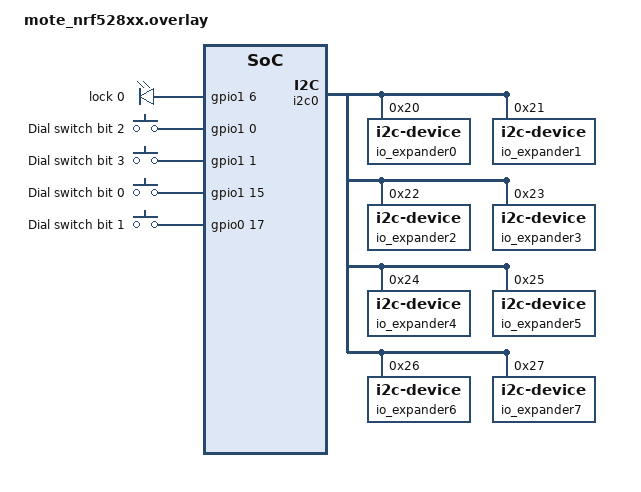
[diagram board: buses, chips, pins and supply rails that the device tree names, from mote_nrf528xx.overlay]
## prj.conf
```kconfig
CONFIG_PRINTK=y
CONFIG_SHELL=y
CONFIG_LOG=y
CONFIG_INIT_STACKS=y
CONFIG_THREAD_STACK_INFO=y
CONFIG_KERNEL_SHELL=y
CONFIG_THREAD_MONITOR=y
CONFIG_BOOT_BANNER=n
CONFIG_THREAD_NAME=y
CONFIG_DEVICE_SHELL=y
CONFIG_POSIX_CLOCK=y
CONFIG_DATE_SHELL=y
CONFIG_THREAD_RUNTIME_STATS=y
CONFIG_THREAD_RUNTIME_STATS_USE_TIMING_FUNCTIONS=y
CONFIG_STATS=y
CONFIG_STATS_SHELL=y

CONFIG_MULTITHREADING=y
CONFIG_FLASH=y
CONFIG_NORDIC_QSPI_NOR=y
CONFIG_I2C=y
```

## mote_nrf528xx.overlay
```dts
// To get started, press Ctrl+Space to bring up the completion menu and view the available nodes.

// You can also use the buttons in the sidebar to perform actions on nodes.
// Actions currently available include:

// * Enabling / disabling the node
// * Adding the bus to a bus
// * Removing the node
// * Connecting ADC channels

// For more help, browse the DeviceTree documentation at https://docs.zephyrproject.org/latest/guides/dts/index.html
// You can also visit the nRF DeviceTree extension documentation at https://nrfconnect.github.io/vscode-nrf-connect/devicetree/nrfdevicetree.html

/ {
	chosen {
		nordic,pm-ext-flash = &w25q128;
	};

	/*
	* In some default configurations within the nRF Connect SDK,
	* e.g. on nRF52840, the chosen zephyr,entropy node is &cryptocell.
	* This devicetree overlay ensures that default is overridden wherever it
	* is set, as this application uses the RNG node for entropy exclusively.
	*/

	chosen {
		zephyr,entropy = &rng;
	};

    locks {
		compatible = "gpio-leds";
		lock0: lock_0 {
			gpios = <&gpio1 6 (GPIO_PULL_DOWN |GPIO_ACTIVE_HIGH)>;
			label = "lock 0";
		};

	};

    aliases {
		lock0 = &lock0;
	};

    buttons{
        compatible = "gpio-keys";
        button1: button_1 {
            gpios = <&gpio1 0 (GPIO_PULL_UP | GPIO_ACTIVE_HIGH)>;
            label = "Dial switch bit 2";
        };

        button2: button_2 {
            gpios = <&gpio1 1 (GPIO_PULL_UP | GPIO_ACTIVE_HIGH)>;
            label = "Dial switch bit 3";
        };

        button3: button_3 {
            gpios = <&gpio1 15 (GPIO_PULL_UP | GPIO_ACTIVE_HIGH)>;
            label = "Dial switch bit 0";
        };
        button4: button_4 {
            gpios = <&gpio0 17 (GPIO_PULL_UP | GPIO_ACTIVE_HIGH)>;
            label = "Dial switch bit 1";
        };


    };

};



&i2c0 {
    io_expander_0: io_expander@20{
        compatible = "i2c-device";
        reg = < 0x20 >;
        label = "io_expander0";
    };

    io_expander_1: io_expander@21{
        compatible = "i2c-device";
        reg = < 0x21 >;
        label = "io_expander1";
    };

    io_expander_2: io_expander@22{
        compatible = "i2c-device";
        reg = < 0x22 >;
        label = "io_expander2";
    };

    io_expander_3: io_expander@23{
        compatible = "i2c-device";
        reg = < 0x23 >;
        label = "io_expander3";
    };

    io_expander_4: io_expander@24{
        compatible = "i2c-device";
        reg = < 0x24 >;
        label = "io_expander4";
    };

    io_expander_5: io_expander@25{
        compatible = "i2c-device";
        reg = < 0x25 >;
        label = "io_expander5";
    };

    io_expander_6: io_expander@26{
        compatible = "i2c-device";
        reg = < 0x26 >;
        label = "io_expander6";
    };

    io_expander_7: io_expander@27{
        compatible = "i2c-device";
        reg = < 0x27 >;
        label = "io_expander7";
    };

};


&flash0 {
	status = "okay";
};
```

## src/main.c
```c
/*
 * Copyright (c) 2015 Intel Corporation
 *
 * SPDX-License-Identifier: Apache-2.0
 */

#include <zephyr/kernel.h>
#include <zephyr/shell/shell.h>
#include <version.h>
#include <zephyr/logging/log.h>
#include <stdlib.h>
#include <zephyr/drivers/uart.h>
#include <zephyr/usb/usb_device.h>
#include <ctype.h>

#ifdef CONFIG_ARCH_POSIX
#include <unistd.h>
#else
#include <zephyr/posix/unistd.h>
#endif

LOG_MODULE_REGISTER(app);


extern int test_module_init();

extern void foo(void);

void timer_expired_handler(struct k_timer *timer)
{
	LOG_INF("Timer expired.");

	/* Call another module to present logging from multiple sources. */
	foo();
}

K_TIMER_DEFINE(log_timer, timer_expired_handler, NULL);

static int cmd_log_test_start(const struct shell *sh, size_t argc,
			      char **argv, uint32_t period)
{
	ARG_UNUSED(argv);

	k_timer_start(&log_timer, K_MSEC(period), K_MSEC(period));
	shell_print(sh, "Log test started\n");

	return 0;
}

static int cmd_log_test_start_demo(const struct shell *sh, size_t argc,
				   char **argv)
{
	return cmd_log_test_start(sh, argc, argv, 200);
}

static int cmd_log_test_start_flood(const struct shell *sh, size_t argc,
				    char **argv)
{
	return cmd_log_test_start(sh, argc, argv, 10);
}

static int cmd_log_test_stop(const struct shell *sh, size_t argc,
			     char **argv)
{
	ARG_UNUSED(argc);
	ARG_UNUSED(argv);

	k_timer_stop(&log_timer);
	shell_print(sh, "Log test stopped");

	return 0;
}

SHELL_STATIC_SUBCMD_SET_CREATE(sub_log_test_start,
	SHELL_CMD_ARG(demo, NULL,
		  "Start log timer which generates log message every 200ms.",
		  cmd_log_test_start_demo, 1, 0),
	SHELL_CMD_ARG(flood, NULL,
		  "Start log timer which generates log message every 10ms.",
		  cmd_log_test_start_flood, 1, 0),
	SHELL_SUBCMD_SET_END /* Array terminated. */
);
SHELL_STATIC_SUBCMD_SET_CREATE(sub_log_test,
	SHELL_CMD_ARG(start, &sub_log_test_start, "Start log test", NULL, 2, 0),
	SHELL_CMD_ARG(stop, NULL, "Stop log test.", cmd_log_test_stop, 1, 0),
	SHELL_SUBCMD_SET_END /* Array terminated. */
);

SHELL_CMD_REGISTER(log_test, &sub_log_test, "Log test", NULL);

static int cmd_demo_ping(const struct shell *sh, size_t argc, char **argv)
{
	ARG_UNUSED(argc);
	ARG_UNUSED(argv);

	shell_print(sh, "pong");

	return 0;
}

static int cmd_demo_board(const struct shell *sh, size_t argc, char **argv)
{
	ARG_UNUSED(argc);
	ARG_UNUSED(argv);

	shell_print(sh, CONFIG_BOARD);

	return 0;
}

#if defined CONFIG_SHELL_GETOPT
/* Thread save usage */
static int cmd_demo_getopt_ts(const struct shell *sh, size_t argc,
			      char **argv)
{
	struct getopt_state *state;
	char *cvalue = NULL;
	int aflag = 0;
	int bflag = 0;
	int c;

	while ((c = getopt(argc, argv, "abhc:")) != -1) {
		state = getopt_state_get();
		switch (c) {
		case 'a':
			aflag = 1;
			break;
		case 'b':
			bflag = 1;
			break;
		case 'c':
			cvalue = state->optarg;
			break;
		case 'h':
			/* When getopt is active shell is not parsing
			 * command handler to print help message. It must
			 * be done explicitly.
			 */
			shell_help(sh);
			return SHELL_CMD_HELP_PRINTED;
		case '?':
			if (state->optopt == 'c') {
				shell_print(sh,
					"Option -%c requires an argument.",
					state->optopt);
			} else if (isprint(state->optopt) != 0) {
				shell_print(sh,
					"Unknown option `-%c'.",
					state->optopt);
			} else {
				shell_print(sh,
					"Unknown option character `\\x%x'.",
					state->optopt);
			}
			return 1;
		default:
			break;
		}
	}

	shell_print(sh, "aflag = %d, bflag = %d", aflag, bflag);
	return 0;
}

static int cmd_demo_getopt(const struct shell *sh, size_t argc,
			      char **argv)
{
	char *cvalue = NULL;
	int aflag = 0;
	int bflag = 0;
	int c;

	while ((c = getopt(argc, argv, "abhc:")) != -1) {
		switch (c) {
		case 'a':
			aflag = 1;
			break;
		case 'b':
			bflag = 1;
			break;
		case 'c':
			cvalue = optarg;
			break;
		case 'h':
			/* When getopt is active shell is not parsing
			 * command handler to print help message. It must
			 * be done explicitly.
			 */
			shell_help(sh);
			return SHELL_CMD_HELP_PRINTED;
		case '?':
			if (optopt == 'c') {
				shell_print(sh,
					"Option -%c requires an argument.",
					optopt);
			} else if (isprint(optopt) != 0) {
				shell_print(sh, "Unknown option `-%c'.",
					optopt);
			} else {
				shell_print(sh,
					"Unknown option character `\\x%x'.",
					optopt);
			}
			return 1;
		default:
			break;
		}
	}

	shell_print(sh, "aflag = %d, bflag = %d", aflag, bflag);
	return 0;
}
#endif

static int cmd_demo_params(const struct shell *sh, size_t argc, char **argv)
{
	shell_print(sh, "argc = %zd", argc);
	for (size_t cnt = 0; cnt < argc; cnt++) {
		shell_print(sh, "  argv[%zd] = %s", cnt, argv[cnt]);
	}

	return 0;
}

static int cmd_demo_hexdump(const struct shell *sh, size_t argc, char **argv)
{
	shell_print(sh, "argc = %zd", argc);
	for (size_t cnt = 0; cnt < argc; cnt++) {
		shell_print(sh, "argv[%zd]", cnt);
		shell_hexdump(sh, argv[cnt], strlen(argv[cnt]));
	}

	return 0;
}

static int cmd_version(const struct shell *sh, size_t argc, char **argv)
{
	ARG_UNUSED(argc);
	ARG_UNUSED(argv);

	shell_print(sh, "Zephyr version %s", KERNEL_VERSION_STRING);

	return 0;
}

#define DEFAULT_PASSWORD "zephyr"

static void login_init(void)
{
	printk("Shell Login Demo\nHint: password = %s\n", DEFAULT_PASSWORD);
	if (!CONFIG_SHELL_CMD_ROOT[0]) {
		shell_set_root_cmd("login");
	}
}

static int check_passwd(char *passwd)
{
	/* example only -- not recommended for production use */
	return strcmp(passwd, DEFAULT_PASSWORD);
}

static int cmd_login(const struct shell *sh, size_t argc, char **argv)
{
	static uint32_t attempts;

	if (check_passwd(argv[1]) != 0) {
		shell_error(sh, "Incorrect password!");
		attempts++;
		if (attempts > 3) {
			k_sleep(K_SECONDS(attempts));
		}
		return -EINVAL;
	}

	/* clear history so password not visible there */
	z_shell_history_purge(sh->history);
	shell_obscure_set(sh, false);
	shell_set_root_cmd(NULL);
	shell_prompt_change(sh, "uart:~$ ");
	shell_print(sh, "Shell Login Demo\n");
	shell_print(sh, "Hit tab for help.\n");
	attempts = 0;
	return 0;
}

static int cmd_logout(const struct shell *sh, size_t argc, char **argv)
{
	shell_set_root_cmd("login");
	shell_obscure_set(sh, true);
	shell_prompt_change(sh, "login: ");
	shell_print(sh, "\n");
	return 0;
}

static int set_bypass(const struct shell *sh, shell_bypass_cb_t bypass)
{
	static bool in_use;

	if (bypass && in_use) {
		shell_error(sh, "Sample supports setting bypass on single instance.");

		return -EBUSY;
	}

	in_use = !in_use;
	if (in_use) {
		shell_print(sh, "Bypass started, press ctrl-x ctrl-q to escape");
		in_use = true;
	}

	shell_set_bypass(sh, bypass);

	return 0;
}

#define CHAR_1 0x18
#define CHAR_2 0x11

static void bypass_cb(const struct shell *sh, uint8_t *data, size_t len)
{
	static uint8_t tail;
	bool escape = false;

	/* Check if escape criteria is met. */
	if (tail == CHAR_1 && data[0] == CHAR_2) {
		escape = true;
	} else {
		for (int i = 0; i < (len - 1); i++) {
			if (data[i] == CHAR_1 && data[i + 1] == CHAR_2) {
				escape = true;
				break;
			}
		}
	}

	if (escape) {
		shell_print(sh, "Exit bypass");
		set_bypass(sh, NULL);
		tail = 0;
		return;
	}

	/* Store last byte for escape sequence detection */
	tail = data[len - 1];

	/* Do the data processing. */
	for (int i = 0; i < len; i++) {
		shell_fprintf(sh, SHELL_INFO, "%02x ", data[i]);
	}
	shell_fprintf(sh, SHELL_INFO, "| ");

	for (int i = 0; i < len; i++) {
		shell_fprintf(sh, SHELL_INFO, "%c", data[i]);
	}
	shell_fprintf(sh, SHELL_INFO, "\n");

}

static int cmd_bypass(const struct shell *sh, size_t argc, char **argv)
{
	return set_bypass(sh, bypass_cb);
}

static int cmd_dict(const struct shell *sh, size_t argc, char **argv,
		    void *data)
{
	int val = (intptr_t)data;

	shell_print(sh, "(syntax, value) : (%s, %d)", argv[0], val);

	return 0;
}

SHELL_SUBCMD_DICT_SET_CREATE(sub_dict_cmds, cmd_dict,
	(value_0, 0, "value 0"), (value_1, 1, "value 1"),
	(value_2, 2, "value 2"), (value_3, 3, "value 3")
);

SHELL_STATIC_SUBCMD_SET_CREATE(sub_demo,
	SHELL_CMD(dictionary, &sub_dict_cmds, "Dictionary commands", NULL),
	SHELL_CMD(hexdump, NULL, "Hexdump params command.", cmd_demo_hexdump),
	SHELL_CMD(params, NULL, "Print params command.", cmd_demo_params),
	SHELL_CMD(ping, NULL, "Ping command.", cmd_demo_ping),
	SHELL_CMD(board, NULL, "Show board name command.", cmd_demo_board),
#if defined CONFIG_SHELL_GETOPT
	SHELL_CMD(getopt_thread_safe, NULL,
		  "Cammand using getopt in thread safe way"
		  " looking for: \"abhc:\".",
		  cmd_demo_getopt_ts),
	SHELL_CMD(getopt, NULL, "Cammand using getopt in non thread safe way"
		  " looking for: \"abhc:\".\n", cmd_demo_getopt),
#endif
	SHELL_SUBCMD_SET_END /* Array terminated. */
);
SHELL_CMD_REGISTER(demo, &sub_demo, "Demo commands", NULL);

SHELL_CMD_ARG_REGISTER(version, NULL, "Show kernel version", cmd_version, 1, 0);

SHELL_CMD_ARG_REGISTER(bypass, NULL, "Bypass shell", cmd_bypass, 1, 0);

SHELL_COND_CMD_ARG_REGISTER(CONFIG_SHELL_START_OBSCURED, login, NULL,
			    "<password>", cmd_login, 2, 0);

SHELL_COND_CMD_REGISTER(CONFIG_SHELL_START_OBSCURED, logout, NULL,
			"Log out.", cmd_logout);


/* Create a set of commands. Commands to this set are added using @ref SHELL_SUBCMD_ADD
 * and @ref SHELL_SUBCMD_COND_ADD.
 */
SHELL_SUBCMD_SET_CREATE(sub_section_cmd, (section_cmd));

static int cmd1_handler(const struct shell *sh, size_t argc, char **argv)
{
	ARG_UNUSED(sh);
	ARG_UNUSED(argc);
	ARG_UNUSED(argv);

	shell_print(sh, "cmd1 executed");

	return 0;
}

/* Create a set of subcommands for "section_cmd cm1". */
SHELL_SUBCMD_SET_CREATE(sub_section_cmd1, (section_cmd, cmd1));

/* Add command to the set. Subcommand set is identify by parent shell command. */
SHELL_SUBCMD_ADD((section_cmd), cmd1, &sub_section_cmd1, "help for cmd1", cmd1_handler, 1, 0);

SHELL_CMD_REGISTER(section_cmd, &sub_section_cmd,
		   "Demo command using section for subcommand registration", NULL);

int main(void)
{
	// test_module_init();
	
	if (IS_ENABLED(CONFIG_SHELL_START_OBSCURED)) {
		login_init();
	}

#if DT_NODE_HAS_COMPAT(DT_CHOSEN(zephyr_shell_uart), zephyr_cdc_acm_uart)
	const struct device *dev;
	uint32_t dtr = 0;

	dev = DEVICE_DT_GET(DT_CHOSEN(zephyr_shell_uart));
	if (!device_is_ready(dev) || usb_enable(NULL)) {
		return 0;
	}

	while (!dtr) {
		uart_line_ctrl_get(dev, UART_LINE_CTRL_DTR, &dtr);
		k_sleep(K_MSEC(100));
	}
#endif
	return 0;
}
```

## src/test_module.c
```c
/*
 * Copyright (c) 2018 Nordic Semiconductor ASA
 *
 * SPDX-License-Identifier: Apache-2.0
 */
#include <stdio.h>
#include <stdlib.h>
#include <ctype.h>

#ifdef CONFIG_ARCH_POSIX
#include <unistd.h>
#else
#include <zephyr/posix/unistd.h>
#endif

#include <zephyr/logging/log.h>
#include <zephyr/shell/shell.h>

#include <zephyr/drivers/gpio.h>
#include <zephyr/drivers/i2c.h>
#include <hal/nrf_gpio.h>

#include <zephyr/pm/device.h>
#include <zephyr/pm/device_runtime.h>

#include <zephyr/drivers/flash.h>

LOG_MODULE_REGISTER(app_test);

#define SLEEP_TIME_MS 500


const struct gpio_dt_spec mIOConfig[3] = {
    [0] = GPIO_DT_SPEC_GET(DT_ALIAS(sw0), gpios),
    [1] = GPIO_DT_SPEC_GET(DT_ALIAS(sw1), gpios),
    [2] = GPIO_DT_SPEC_GET(DT_ALIAS(sw2), gpios)
};

void io_config_init(void) 
{
	int err;

    int mode = 0;

    for(int i = 0; i < 3; i++){
        if (!device_is_ready(mIOConfig[i].port)) {
            return;
        }

        err = gpio_pin_configure_dt(&mIOConfig[i], GPIO_INPUT);
        if (err < 0) {
            return;
        }        
    }	

    k_sleep(K_MSEC(100));

    mode |= gpio_pin_get_dt(&mIOConfig[1]) > 0 ? 0x1 : 0; 
     
    mode |= gpio_pin_get_dt(&mIOConfig[2]) > 0 ? 0x2 : 0; 

    printk("io-config mode: %u\n", mode);

}

static int io_config_handler(const struct shell *sh, size_t argc, char **argv)
{
	ARG_UNUSED(sh);
	ARG_UNUSED(argc);
	ARG_UNUSED(argv);

	shell_print(sh, "io_config_init test:");

    io_config_init();

	return 0;
}

SHELL_SUBCMD_ADD((section_cmd), ioconfig, NULL, "help for ioconfig", io_config_handler, 1, 0);



static const struct gpio_dt_spec lock0 = GPIO_DT_SPEC_GET(DT_ALIAS(lock0), gpios);


void lock_init(void) {
  if (!device_is_ready(lock0.port)) {
    printk("Didn't find lock device referred by the lock0\n");
    return;
  }

  gpio_pin_configure_dt(&lock0, GPIO_OUTPUT);
  gpio_pin_set_dt(&lock0, 1);
}





#define BTN_COUNT 1

struct otc_btn_work_info {
	struct k_work_delayable work;
	uint32_t pins;
} otc_btn_work;

static const struct gpio_dt_spec button0 = GPIO_DT_SPEC_GET_OR(DT_ALIAS(sw0), gpios, {0});
static struct gpio_callback button_cb_data;
static const struct gpio_dt_spec btns[BTN_COUNT] = {button0};


static void otc_btn_work_fn(struct k_work *work)
{
	int err;
	struct k_work_delayable *dwork = k_work_delayable_from_work(work);
	struct otc_btn_work_info *btn_work = CONTAINER_OF(dwork, struct otc_btn_work_info, work);

	if (btn_work->pins == BIT(button0.pin)) {

		printk("button0 pressed, triggle lock\n");
		// gpio_pin_toggle_dt(&lock0);
		if (gpio_pin_set_dt(&lock0, 1) != 0) {
			printk("lock0 set error\n");
		}

		k_msleep(SLEEP_TIME_MS);

		if (gpio_pin_set_dt(&lock0, 0) != 0) {
			printk("lock0 set error\n");
		}

	} 
}


static void button_pressed(const struct device *dev, struct gpio_callback *cb, uint32_t pins)
{
	otc_btn_work.pins = pins;
	k_work_schedule(&otc_btn_work.work, K_MSEC(100));
}

static void configure_button_irq(const struct gpio_dt_spec btn)
{
	int ret;

	if (!device_is_ready(btn.port)) {
		printk("Error: button device %s is not ready\n", btn.port->name);
		return;
	}

	ret = gpio_pin_configure_dt(&btn, GPIO_INPUT);
	if (ret != 0) {
		printk("Error %d: failed to configure %s pin %d\n", ret, btn.port->name, btn.pin);
		return;
	}

	ret = gpio_pin_interrupt_configure_dt(&btn, GPIO_INT_EDGE_TO_ACTIVE);

	if (ret != 0) {
		printk("Error %d: failed to configure interrupt on %s pin %d\n", ret,
		       btn.port->name, btn.pin);
		return;
	}

	button_cb_data.pin_mask |= BIT(btn.pin);
	gpio_add_callback(btn.port, &button_cb_data);

	printk("Set up button at %s pin %d\n", btn.port->name, btn.pin);
}

static void configure_buttons(void)
{
	gpio_init_callback(&button_cb_data, button_pressed, 0);

	for (int idx = 0; idx < BTN_COUNT; idx++) {
		configure_button_irq(btns[idx]);
	}
}

void buttons_init(void)
{
	k_work_init_delayable(&otc_btn_work.work, otc_btn_work_fn);

	configure_buttons();

}


const struct device *qspi_flash = DEVICE_DT_GET(DT_NODELABEL(w25q128));
const struct flash_driver_api *qspi_nor_api;
char write_buf[1024] = {0};
char read_buf[1024] = {0};

int qspi_init()
{
	int ret = 0;
	int err = 0;
	printk("qspi_init start\n");

	if (!device_is_ready(qspi_flash)) {
		printk("QSPI FLASH not ready\n");
		return -ENODEV;
	}

	memset(write_buf, 0x55, 1024);
	memset(read_buf, 0, 1024);

	qspi_nor_api = qspi_flash->api;

	ret = qspi_nor_api->erase(qspi_flash, 0, 4*1024);

	ret = qspi_nor_api->write(qspi_flash, 0, write_buf,1024);

	ret = qspi_nor_api->read(qspi_flash, 0, read_buf, 1024);

	for(int i = 0; i < 1024; i++){
		if(write_buf[i] != read_buf[i]){
			err = 1;
			break;
		}
	}

	if(err){
		printk("QSPI FLAH check failed\n");
	}
	else{
		printk("QSPI FLAH check passed\n");
	}


	return ret;

}




static const struct device *GIPO_P0 = DEVICE_DT_GET(DT_NODELABEL(gpio0));
static const struct device *GIPO_P1 = DEVICE_DT_GET(DT_NODELABEL(gpio1));


static const struct i2c_dt_spec dev_io_expander[8] = {
	[0] = I2C_DT_SPEC_GET(DT_NODELABEL(io_expander_0)),
	[1] = I2C_DT_SPEC_GET(DT_NODELABEL(io_expander_1)),
	[2] = I2C_DT_SPEC_GET(DT_NODELABEL(io_expander_2)),
	[3] = I2C_DT_SPEC_GET(DT_NODELABEL(io_expander_3)),
	[4] = I2C_DT_SPEC_GET(DT_NODELABEL(io_expander_4)),
	[5] = I2C_DT_SPEC_GET(DT_NODELABEL(io_expander_5)),
	[6] = I2C_DT_SPEC_GET(DT_NODELABEL(io_expander_6)),
	[7] = I2C_DT_SPEC_GET(DT_NODELABEL(io_expander_7)),
};


int port0_pins[32] = {9, 10, 31, 29, 2, 20, 17, 15, 12, 8, 6, 22, 24, -1};
int port1_pins[32] = {4, 6, 2, 9, 0, 1, -1};

static int gpio_init(void)
{
	int err;

	printk("gpio_init start\n");

	if (!device_is_ready(GIPO_P0)) {
		printk("GPIO controller not ready\n");
		return -ENODEV;
	}

	for(int i = 0 ; i < 32; i++){
		if(port0_pins[i] < 0){
			break;
		}
        err = gpio_pin_configure(GIPO_P0, port0_pins[i],
                    GPIO_OUTPUT | GPIO_ACTIVE_LOW);
        if (err) {
            printk("GPIO_0 config error: %d\n", err);
            return err;
        }
	}


	for(int i = 0 ; i < 32; i++){
		if(port1_pins[i] < 0){
			break;
		}
        err = gpio_pin_configure(GIPO_P1, port1_pins[i],
                    GPIO_OUTPUT | GPIO_ACTIVE_LOW);
        if (err) {
            printk("GPIO_0 config error: %d\n", err);
            return err;
        }
	}


	return 0;
}

int gpio_test(bool set)
{


	for(int i = 0 ; i < 32 ; i++){

		if(port0_pins[i] < 0){
			break;
		}

		printk("GPIO_0 set pin %d \n", port0_pins[i]);
		if (gpio_pin_set(GIPO_P0,  port0_pins[i], set) != 0) {
			printk("GPIO_0 set error\n");
		}

	}

	for(int i = 0 ; i < 32 ; i++){

		if(port1_pins[i] < 0){
			break;
		}

		printk("GPIO_1 set pin %d \n", port1_pins[i]);
		if (gpio_pin_set(GIPO_P1,  port1_pins[i], set) != 0) {
			printk("GPIO_1 set error\n");
		}


	}

	return 0;
}

int io_expander_init()
{


	return 0;
}

int io_expander_test()
{


	return 0;
}

int relay_set(int slot, int chl, int value)
{
	int ret;
	uint8_t buf[2] = {0};


	if (!device_is_ready(dev_io_expander[slot].bus)) {
		printk("I2C bus %s is not ready!\n\r",dev_io_expander[slot].bus->name);
		return -1;
	}

	/* Keep the i2c pin with right state, recover bus first */
	i2c_recover_bus(dev_io_expander[slot].bus);

	ret = i2c_read_dt(&dev_io_expander[slot], buf, 1);
	if(ret != 0){
		printk("Failed to read from I2C device address %x at Reg. %x \n", dev_io_expander[slot].addr, buf[0]);
		return -1;
	}	

	buf[0] = buf[0] & (~(0x3<<(2*chl)));
	if(value == 0){
		buf[0] |= (0x02 << (2*chl));
	}
	else{
		buf[0] |= (0x01 << (2*chl));
	}
	ret = i2c_write_dt(&dev_io_expander[slot], buf, 1);
	if(ret != 0){
		printk("Failed to write to I2C device address %x at reg. %x \n", dev_io_expander[slot].addr, buf[0]);
		return -1;
	}

	k_sleep(K_MSEC(10));

	buf[0] = buf[0] & 0xFC;
	ret = i2c_write_dt(&dev_io_expander[slot], buf, 1);
	if(ret != 0){
		printk("Failed to write to I2C device address %x at reg. %x \n", dev_io_expander[slot].addr, buf[0]);
		return -1;
	}

	return 0;
}


int test_module_init()
{
	qspi_init();
	buttons_init();
	lock_init();

	return 0;
}



/* Commands below are added using memory section approach which allows to build
 * a set of subcommands from multiple files.
 */
static int relay_handler(const struct shell *sh, size_t argc, char **argv)
{
	int relay_chl = 0;
	int relay_slot = 0;
	int relay_val = 0;
	int c;
	char *ptr = NULL;

	getopt_init();

	while ((c = getopt(argc, argv, "c:s:of")) != -1) {
		switch (c) {

		case 's':
			relay_slot = strtol(optarg, &ptr, 10);
			break;
		case 'c':
			relay_chl = strtol(optarg, &ptr, 10);
			break;
		case 'o':
			relay_val = 1;
			break;
		case 'f':
			relay_val = 0;
			break;
		case 'h':
			/* When getopt is active shell is not parsing
			 * command handler to print help message. It must
			 * be done explicitly.
			 */
			shell_help(sh);
			return SHELL_CMD_HELP_PRINTED;
		case '?':
			if (optarg == 'c') {
				shell_print(sh,
					"Option -%c requires an argument.",
					optarg);
			} else if (isprint(optarg) != 0) {
				shell_print(sh,
					"Unknown option `-%c'.",
					optarg);
			} else {
				shell_print(sh,
					"Unknown option character `\\x%x'.",
					optarg);
			}
			return 1;
		default:
			break;
		}
	}

	shell_print(sh, "option `slot - %d, chl - %d, val -%d'\n", relay_slot, relay_chl, relay_val);
	relay_set(relay_slot, relay_chl, relay_val);

	return 0;
}

SHELL_SUBCMD_ADD((section_cmd), relay, NULL, "help for relay", relay_handler, 1, 5);


/* Commands below are added using memory section approach which allows to build
 * a set of subcommands from multiple files.
 */
static int init_handler(const struct shell *sh, size_t argc, char **argv)
{
	ARG_UNUSED(sh);
	ARG_UNUSED(argc);
	ARG_UNUSED(argv);

	shell_print(sh, "init executed");

	test_module_init();

	return 0;
}

SHELL_SUBCMD_ADD((section_cmd), init, NULL, "help for init", init_handler, 1, 0);



static int gpio_set_handler(const struct shell *sh, size_t argc, char **argv)
{
	ARG_UNUSED(sh);
	ARG_UNUSED(argc);
	ARG_UNUSED(argv);

	shell_print(sh, "gpio set executed");

	gpio_init();

	gpio_test(true);

	return 0;
}

SHELL_SUBCMD_ADD((section_cmd), gpioset, NULL, "help for gpio", gpio_set_handler, 1, 0);

static int gpio_reset_handler(const struct shell *sh, size_t argc, char **argv)
{
	ARG_UNUSED(sh);
	ARG_UNUSED(argc);
	ARG_UNUSED(argv);

	shell_print(sh, "gpio reset executed");

	gpio_init();

	gpio_test(false);

	return 0;
}

SHELL_SUBCMD_ADD((section_cmd), gpioreset, NULL, "help for gpio", gpio_reset_handler, 1, 0);



static int i2c_handler(const struct shell *sh, size_t argc, char **argv)
{
	ARG_UNUSED(sh);
	ARG_UNUSED(argc);
	ARG_UNUSED(argv);

	shell_print(sh, "i2c test executed");

	io_expander_test();

	return 0;
}

SHELL_SUBCMD_ADD((section_cmd), i2c, NULL, "help for i2c", i2c_handler, 1, 0);



void foo(void)
{
	LOG_INF("info message");
	LOG_WRN("warning message");
	LOG_ERR("err message");
}

static int sub_cmd1_handler(const struct shell *sh, size_t argc, char **argv)
{
	ARG_UNUSED(sh);
	ARG_UNUSED(argc);
	ARG_UNUSED(argv);

	shell_print(sh, "sub cmd1 executed");

	return 0;
}

SHELL_SUBCMD_COND_ADD(1, (section_cmd, cmd1), sub_cmd1, NULL, "help for cmd2",
			sub_cmd1_handler, 1, 0);
```
